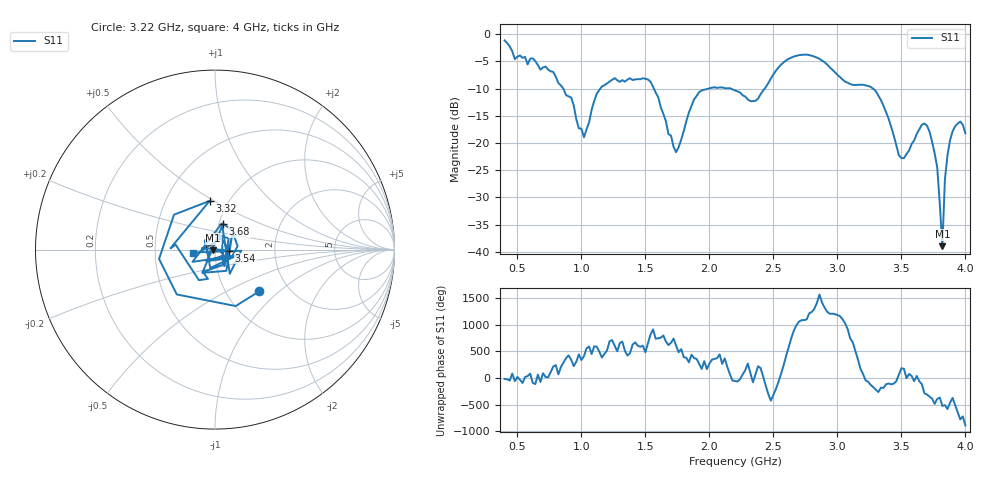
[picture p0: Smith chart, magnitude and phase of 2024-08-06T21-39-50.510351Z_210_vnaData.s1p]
!Created with skrf (http://scikit-rf.org).
# Hz S RI R 50.0
!freq ReS11 ImS11
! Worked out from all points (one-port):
!   181 points, 400 MHz to 4 GHz, reference 50 ohm
!   lowest |S11| = -39.0 dB at 3.82 GHz (marker M1), VSWR 1.02, Z = 48.9 - j0.29 ohm
!   |S11| at or under -10 dB: 859.4 MHz to 1.147 GHz (288 MHz wide, 28.7 % of centre); 1.567 GHz to 1.988 GHz (421.8 MHz wide, 23.7 % of centre); 3.28 GHz to end of sweep (the widest 3 of 4)
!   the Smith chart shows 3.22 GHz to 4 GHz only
!   S11 on the Smith chart (normalised r, x): 3.22 GHz: 1.42, -0.75; 3.32 GHz: 0.82, +0.48; 3.54 GHz: 1.17, -0.01; 3.68 GHz: 1.05, +0.31; 4 GHz: 0.78, -0.03
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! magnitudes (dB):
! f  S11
! 400 MHz  -1.1
! 480 MHz  -4.6
! 620 MHz  -4.4
! 860 MHz  -10.0
! 1.02 GHz  -18.9
! 1.12 GHz  -10.9
! 1.3 GHz  -8.7
! 1.54 GHz  -8.7
! 1.72 GHz  -20.7
! 1.76 GHz  -20.7
! 1.92 GHz  -10.6
! 2.2 GHz  -10.3
! 2.36 GHz  -12.2
! 2.66 GHz  -4.1
! 2.86 GHz  -4.5
! 3.1 GHz  -9.2
! 3.22 GHz  -9.4
! 3.32 GHz  -11.3
! 3.48 GHz  -22.2
! 3.54 GHz  -22.0
! 3.56 GHz  -21.4
! 3.68 GHz  -16.4
! 3.78 GHz  -24.5
! 3.82 GHz  -39.0
! 3.84 GHz  -26.7
! 3.88 GHz  -19.5
! 3.96 GHz  -16.0
! 4 GHz  -18.2
